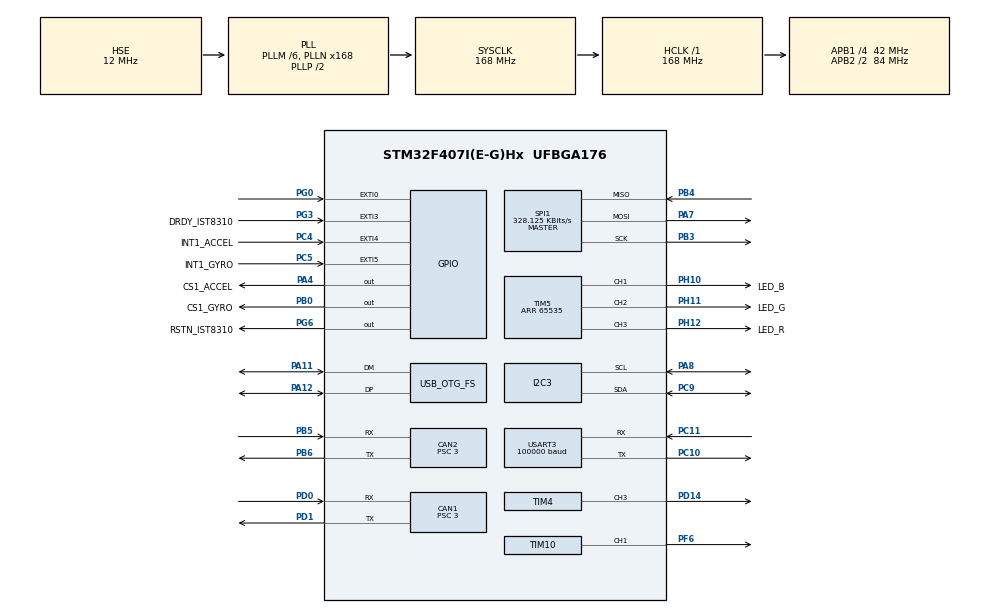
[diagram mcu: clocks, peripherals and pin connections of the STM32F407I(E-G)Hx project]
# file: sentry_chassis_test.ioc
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CAN1.BS1=CAN_BS1_10TQ
CAN1.BS2=CAN_BS2_3TQ
CAN1.CalculateBaudRate=1000000
CAN1.CalculateTimeBit=1000
CAN1.CalculateTimeQuantum=71.42857142857143
CAN1.Prescaler=3
CAN2.BS1=CAN_BS1_10TQ
CAN2.BS2=CAN_BS2_3TQ
CAN2.CalculateBaudRate=1000000
CAN2.CalculateTimeBit=1000
CAN2.CalculateTimeQuantum=71.42857142857143
CAN2.Prescaler=3
Dma.Request0=SPI1_RX
Dma.Request1=SPI1_TX
Dma.Request2=USART3_RX
Dma.SPI1_RX.0.Direction=DMA_PERIPH_TO_MEMORY
Dma.SPI1_RX.0.FIFOMode=DMA_FIFOMODE_DISABLE
Dma.SPI1_RX.0.Instance=DMA2_Stream0
Dma.SPI1_RX.0.MemDataAlignment=DMA_MDATAALIGN_BYTE
Dma.SPI1_RX.0.MemInc=DMA_MINC_ENABLE
Dma.SPI1_RX.0.Mode=DMA_NORMAL
Dma.SPI1_RX.0.PeriphDataAlignment=DMA_PDATAALIGN_BYTE
Dma.SPI1_RX.0.PeriphInc=DMA_PINC_DISABLE
Dma.SPI1_RX.0.Priority=DMA_PRIORITY_VERY_HIGH
Dma.SPI1_TX.1.Direction=DMA_MEMORY_TO_PERIPH
Dma.SPI1_TX.1.FIFOMode=DMA_FIFOMODE_DISABLE
Dma.SPI1_TX.1.Instance=DMA2_Stream3
Dma.SPI1_TX.1.MemDataAlignment=DMA_MDATAALIGN_BYTE
Dma.SPI1_TX.1.MemInc=DMA_MINC_ENABLE
Dma.SPI1_TX.1.Mode=DMA_NORMAL
Dma.SPI1_TX.1.PeriphDataAlignment=DMA_PDATAALIGN_BYTE
Dma.SPI1_TX.1.PeriphInc=DMA_PINC_DISABLE
Dma.SPI1_TX.1.Priority=DMA_PRIORITY_HIGH
Dma.USART3_RX.2.Direction=DMA_PERIPH_TO_MEMORY
Dma.USART3_RX.2.FIFOMode=DMA_FIFOMODE_DISABLE
Dma.USART3_RX.2.Instance=DMA1_Stream1
Dma.USART3_RX.2.MemDataAlignment=DMA_MDATAALIGN_BYTE
Dma.USART3_RX.2.MemInc=DMA_MINC_ENABLE
Dma.USART3_RX.2.Mode=DMA_NORMAL
Dma.USART3_RX.2.PeriphDataAlignment=DMA_PDATAALIGN_BYTE
Dma.USART3_RX.2.PeriphInc=DMA_PINC_DISABLE
Dma.USART3_RX.2.Priority=DMA_PRIORITY_HIGH
FREERTOS.INCLUDE_eTaskGetState=1
FREERTOS.INCLUDE_uxTaskGetStackHighWaterMark=1
FREERTOS.INCLUDE_vTaskDelayUntil=1
FREERTOS.INCLUDE_xQueueGetMutexHolder=1
FREERTOS.Tasks01=test,0,128,test_task,Default,NULL,Dynamic,NULL,NULL
FREERTOS.configTOTAL_HEAP_SIZE=24576
FREERTOS.configUSE_TIMERS=1
I2C3.I2C_Mode=I2C_Fast
Mcu.Family=STM32F4
Mcu.Name=STM32F407I(E-G)Hx
Mcu.Package=UFBGA176
NVIC.CAN1_RX0_IRQn=true\:5\:0\:false\:false\:true\:true\:true\:true\:true
NVIC.CAN1_RX1_IRQn=true\:5\:0\:false\:false\:true\:true\:true\:true\:true
NVIC.CAN1_TX_IRQn=true\:5\:0\:false\:false\:true\:true\:true\:true\:true
NVIC.CAN2_RX0_IRQn=true\:5\:0\:false\:false\:true\:true\:true\:true\:true
NVIC.CAN2_RX1_IRQn=true\:5\:0\:false\:false\:true\:true\:true\:true\:true
NVIC.CAN2_TX_IRQn=true\:5\:0\:false\:false\:true\:true\:true\:true\:true
NVIC.DMA1_Stream1_IRQn=true\:5\:0\:false\:false\:true\:true\:false\:true\:true
NVIC.DMA2_Stream0_IRQn=true\:5\:0\:false\:false\:true\:true\:false\:true\:true
NVIC.DMA2_Stream3_IRQn=true\:5\:0\:false\:false\:true\:true\:false\:true\:true
NVIC.OTG_FS_IRQn=true\:5\:0\:false\:false\:true\:true\:true\:true\:true
NVIC.PriorityGroup=NVIC_PRIORITYGROUP_4
NVIC.RCC_IRQn=true\:5\:0\:false\:false\:true\:true\:true\:false\:true
NVIC.USART3_IRQn=true\:5\:0\:false\:false\:true\:true\:true\:true\:true
PA10.Signal=USB_OTG_FS_ID
PA11.Mode=Device_Only
PA11.Signal=USB_OTG_FS_DM
PA12.Mode=Device_Only
PA12.Signal=USB_OTG_FS_DP
PA13.Mode=Serial_Wire
PA13.Signal=SYS_JTMS-SWDIO
PA14.Mode=Serial_Wire
PA14.Signal=SYS_JTCK-SWCLK
PA4.GPIO_Label=CS1_ACCEL
PA4.GPIO_PuPd=GPIO_PULLUP
PA4.GPIO_Speed=GPIO_SPEED_FREQ_HIGH
PA4.PinState=GPIO_PIN_SET
PA4.Signal=GPIO_Output
PA7.GPIO_PuPd=GPIO_PULLUP
PA7.Mode=Full_Duplex_Master
PA7.Signal=SPI1_MOSI
PA8.GPIO_Pu=GPIO_PULLUP
PA8.Mode=I2C
PA8.Signal=I2C3_SCL
PA9.Signal=USART1_TX
PB0.GPIO_Label=CS1_GYRO
PB0.GPIO_PuPd=GPIO_PULLUP
PB0.GPIO_Speed=GPIO_SPEED_FREQ_HIGH
PB0.Signal=GPIO_Output
PB3.GPIO_PuPd=GPIO_PULLUP
PB3.Mode=Full_Duplex_Master
PB3.Signal=SPI1_SCK
PB4.GPIO_PuPd=GPIO_PULLUP
PB4.Mode=Full_Duplex_Master
PB4.Signal=SPI1_MISO
PB5.GPIO_PuPd=GPIO_NOPULL
PB5.Mode=CAN_Activate
PB5.Signal=CAN2_RX
PB6.GPIO_PuPd=GPIO_NOPULL
PB6.Mode=CAN_Activate
PB6.Signal=CAN2_TX
PC10.Mode=Asynchronous
PC10.Signal=USART3_TX
PC11.Mode=Asynchronous
PC11.Signal=USART3_RX
PC4.GPIO_Label=INT1_ACCEL
PC4.GPIO_PuPd=GPIO_PULLUP
PC4.Signal=GPXTI4
PC5.GPIO_Label=INT1_GYRO
PC5.GPIO_PuPd=GPIO_PULLUP
PC5.Signal=GPXTI5
PC9.GPIO_Pu=GPIO_PULLUP
PC9.Mode=I2C
PC9.Signal=I2C3_SDA
PD0.GPIO_PuPd=GPIO_NOPULL
PD0.Mode=CAN_Activate
PD0.Signal=CAN1_RX
PD1.GPIO_PuPd=GPIO_NOPULL
PD1.Mode=CAN_Activate
PD1.Signal=CAN1_TX
PD14.Signal=S_TIM4_CH3
PF6.GPIO_PuPd=GPIO_PULLUP
PF6.GPIO_Speed=GPIO_SPEED_FREQ_HIGH
PF6.Signal=S_TIM10_CH1
PG0.GPIO_PuPd=GPIO_PULLUP
PG0.Signal=GPXTI0
PG3.GPIO_Label=DRDY_IST8310
PG3.GPIO_PuPd=GPIO_PULLUP
PG3.Signal=GPXTI3
PG6.GPIO_Label=RSTN_IST8310
PG6.GPIO_PuPd=GPIO_PULLUP
PG6.GPIO_Speed=GPIO_SPEED_FREQ_MEDIUM
PG6.PinState=GPIO_PIN_SET
PG6.Signal=GPIO_Output
PH0-OSC_IN.Mode=HSE-External-Oscillator
PH0-OSC_IN.Signal=RCC_OSC_IN
PH1-OSC_OUT.Mode=HSE-External-Oscillator
PH1-OSC_OUT.Signal=RCC_OSC_OUT
PH10.GPIO_Label=LED_B
PH10.GPIO_PuPd=GPIO_PULLUP
PH10.GPIO_Speed=GPIO_SPEED_FREQ_HIGH
PH10.Signal=S_TIM5_CH1
PH11.GPIO_Label=LED_G
PH11.GPIO_PuPd=GPIO_PULLUP
PH11.GPIO_Speed=GPIO_SPEED_FREQ_HIGH
PH11.Signal=S_TIM5_CH2
PH12.GPIO_Label=LED_R
PH12.GPIO_PuPd=GPIO_PULLUP
PH12.GPIO_Speed=GPIO_SPEED_FREQ_HIGH
PH12.Signal=S_TIM5_CH3
ProjectManager.HeapSize=0x2000
ProjectManager.StackSize=0x2000
ProjectManager.TargetToolchain=MDK-ARM V5
RCC.48MHZClocksFreq_Value=48000000
RCC.AHBFreq_Value=168000000
RCC.APB1CLKDivider=RCC_HCLK_DIV4
RCC.APB1Freq_Value=42000000
RCC.APB1TimFreq_Value=84000000
RCC.APB2CLKDivider=RCC_HCLK_DIV2
RCC.APB2Freq_Value=84000000
RCC.APB2TimFreq_Value=168000000
RCC.CortexFreq_Value=168000000
RCC.HCLKFreq_Value=168000000
RCC.HSE_VALUE=12000000
RCC.HSI_VALUE=16000000
RCC.LSE_VALUE=32768
RCC.PLLM=6
RCC.PLLN=168
RCC.PLLQ=7
RCC.SYSCLKFreq_VALUE=168000000
RCC.SYSCLKSource=RCC_SYSCLKSOURCE_PLLCLK
RCC.VCOOutputFreq_Value=336000000
SH.S_TIM10_CH1.0=TIM10_CH1,PWM Generation1 CH1
SH.S_TIM4_CH3.0=TIM4_CH3,PWM Generation3 CH3
SH.S_TIM5_CH1.0=TIM5_CH1,PWM Generation1 CH1
SH.S_TIM5_CH2.0=TIM5_CH2,PWM Generation2 CH2
SH.S_TIM5_CH3.0=TIM5_CH3,PWM Generation3 CH3
SPI1.BaudRatePrescaler=SPI_BAUDRATEPRESCALER_256
SPI1.CLKPhase=SPI_PHASE_2EDGE
SPI1.CLKPolarity=SPI_POLARITY_HIGH
SPI1.CalculateBaudRate=328.125 KBits/s
SPI1.Direction=SPI_DIRECTION_2LINES
SPI1.Mode=SPI_MODE_MASTER
SPI1.VirtualType=VM_MASTER
STMicroelectronics.X-CUBE-ALGOBUILD.1.3.0.LibraryCcDSPOoLibraryJjDSPOoLibrary=true
TIM10.Channel=TIM_CHANNEL_1
TIM10.Period=4999
TIM2.Prescaler=83
TIM4.Channel-PWM\ Generation3\ CH3=TIM_CHANNEL_3
TIM4.Period=20999
TIM5.Channel-PWM\ Generation1\ CH1=TIM_CHANNEL_1
TIM5.Channel-PWM\ Generation2\ CH2=TIM_CHANNEL_2
TIM5.Channel-PWM\ Generation3\ CH3=TIM_CHANNEL_3
TIM5.Period=65535
USART3.BaudRate=100000
USART3.VirtualMode=VM_ASYNC
USB_OTG_FS.VirtualMode=Device_Only
VP_FREERTOS_VS_CMSIS_V1.Mode=CMSIS_V1
VP_STMicroelectronics.X-CUBE-ALGOBUILD_VS_DSPOoLibraryJjLibrary_1.3.0_1.3.0.Mode=DSPOoLibraryJjLibrary
VP_TIM10_VS_ClockSourceINT.Mode=Enable_Timer
VP_TIM2_VS_ClockSourceINT.Mode=Internal
VP_TIM4_VS_ClockSourceINT.Mode=Internal
VP_TIM5_VS_ClockSourceINT.Mode=Internal
board=custom

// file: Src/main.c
/* USER CODE BEGIN Header */
/**
  ******************************************************************************
  * @file           : main.c
  * @brief          : Main program body
  ******************************************************************************
  * @attention
  *
  * Copyright (c) 2024 STMicroelectronics.
  * All rights reserved.
  *
  * This software is licensed under terms that can be found in the LICENSE file
  * in the root directory of this software component.
  * If no LICENSE file comes with this software, it is provided AS-IS.
  *
  ******************************************************************************
  */
/* USER CODE END Header */
#include "main.h"

/* USER CODE BEGIN Includes */
#include "bsp_buzzer.h"
/* USER CODE END Includes */

void SystemClock_Config(void);
void MX_FREERTOS_Init(void);

/* USER CODE BEGIN 0 */
void Robot_Init(void)
{
  // imu init
  while (BMI088_init(&hspi1, Offline_Use) != BMI088_NO_ERROR)
  {
  }
  remote_control_init();
  initRemoteControl(DJI_REMOTE_CONTROL);

  Motor_Config_Init();
}

void Bsp_Init(void)
{
	/* MCU Configuration--------------------------------------------------------*/

  /* Reset of all peripherals, Initializes the Flash interface and the Systick. */
  HAL_Init();

  /* USER CODE BEGIN Init */

  /* USER CODE END Init */

  /* Configure the system clock */
  SystemClock_Config();

  /* USER CODE BEGIN SysInit */

  /* USER CODE END SysInit */

  /* Initialize all configured peripherals */
  MX_GPIO_Init();
  MX_DMA_Init();
	MX_SPI1_Init();
	MX_TIM5_Init();
	MX_I2C3_Init();
  MX_CAN1_Init();
  MX_TIM2_Init();
  MX_TIM10_Init();
  MX_CAN2_Init();
  MX_USART3_UART_Init();
  /* USER CODE BEGIN 2 */
  MX_USB_DEVICE_Init();
	DWT_Init(168);

	can_filter_init();

  MX_TIM4_Init();
	//开启定时器
    HAL_TIM_Base_Start(&htim4);
	//开启PWM通道
   HAL_TIM_PWM_Start(&htim4, TIM_CHANNEL_3);
  /* USER CODE END 2 */
}
/* USER CODE END 0 */

int main(void)
{

  /* USER CODE BEGIN 1 */
	Bsp_Init();
  Robot_Init();
  /* USER CODE END 1 */

  //Initialization_Completed();
  //HAL_TIM_PWM_Start(&htim4, TIM_CHANNEL_3); // 启动PWM输出
  /* Call init function for freertos objects (in cmsis_os2.c) */
  MX_FREERTOS_Init();

  /* Start scheduler */
  osKernelStart();

  /* We should never get here as control is now taken by the scheduler */

  /* Infinite loop */
  while (1)
  {

  }
}

void SystemClock_Config(void)
{
  RCC_OscInitTypeDef RCC_OscInitStruct = {0};
  RCC_ClkInitTypeDef RCC_ClkInitStruct = {0};

  /** Configure the main internal regulator output voltage
  */
  __HAL_RCC_PWR_CLK_ENABLE();
  __HAL_PWR_VOLTAGESCALING_CONFIG(PWR_REGULATOR_VOLTAGE_SCALE1);

  /** Initializes the RCC Oscillators according to the specified parameters
  * in the RCC_OscInitTypeDef structure.
  */
  RCC_OscInitStruct.OscillatorType = RCC_OSCILLATORTYPE_HSE;
  RCC_OscInitStruct.HSEState = RCC_HSE_ON;
  RCC_OscInitStruct.PLL.PLLState = RCC_PLL_ON;
  RCC_OscInitStruct.PLL.PLLSource = RCC_PLLSOURCE_HSE;
  RCC_OscInitStruct.PLL.PLLM = 6;
  RCC_OscInitStruct.PLL.PLLN = 168;
  RCC_OscInitStruct.PLL.PLLP = RCC_PLLP_DIV2;
  RCC_OscInitStruct.PLL.PLLQ = 7;
  if (HAL_RCC_OscConfig(&RCC_OscInitStruct) != HAL_OK)
  {
    Error_Handler();
  }

  /** Initializes the CPU, AHB and APB buses clocks
  */
  RCC_ClkInitStruct.ClockType = RCC_CLOCKTYPE_HCLK|RCC_CLOCKTYPE_SYSCLK
                              |RCC_CLOCKTYPE_PCLK1|RCC_CLOCKTYPE_PCLK2;
  RCC_ClkInitStruct.SYSCLKSource = RCC_SYSCLKSOURCE_PLLCLK;
  RCC_ClkInitStruct.AHBCLKDivider = RCC_SYSCLK_DIV1;
  RCC_ClkInitStruct.APB1CLKDivider = RCC_HCLK_DIV4;
  RCC_ClkInitStruct.APB2CLKDivider = RCC_HCLK_DIV2;

  if (HAL_RCC_ClockConfig(&RCC_ClkInitStruct, FLASH_LATENCY_5) != HAL_OK)
  {
    Error_Handler();
  }
}

void Error_Handler(void)
{
  __disable_irq();
  while (1)
  {
  }
}

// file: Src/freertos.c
/* USER CODE BEGIN Header */
/**
  ******************************************************************************
  * File Name          : freertos.c
  * Description        : Code for freertos applications
  ******************************************************************************
  * @attention
  *
  * Copyright (c) 2024 STMicroelectronics.
  * All rights reserved.
  *
  * This software is licensed under terms that can be found in the LICENSE file
  * in the root directory of this software component.
  * If no LICENSE file comes with this software, it is provided AS-IS.
  *
  ******************************************************************************
  */
/* USER CODE END Header */

#include "FreeRTOS.h"
#include "task.h"
#include "main.h"
#include "cmsis_os.h"

/* USER CODE BEGIN Includes */
#include "led_flow_task.h"
#include "ins_task.h"
#include "ActionTask.h"
#include "BlueToothTask.h"
#include "ChassisTask.h"
#include "CPU_Task.h"
#include "GimbalTask.h"
#include "iwdgTask.h"
#include "Offline_Task.h"
// #include "SDCardTask.h"
#include "Test_Task.h"
#include "ShootTask.h"
#include "BuzzerAlarmTask.h"
/* USER CODE END Includes */

/* USER CODE BEGIN Variables */
osThreadId INSTaskHandle;
osThreadId ActionTaskHandle;
osThreadId OfflineTaskHandle;
osThreadId GimbalTaskHandle;
osThreadId BlueToothTaskHandle;
osThreadId ChassisTaskHandle;
osThreadId CPUTaskHandle;
osThreadId iwdgTaskHandle;
osThreadId TestTaskHandle;
osThreadId BuzzerAlarmTaskHandle;
//osThreadId ShootTaskHandle;
/* USER CODE END Variables */
osThreadId testHandle;

void test_task(void const * argument);

void MX_FREERTOS_Init(void); /* (MISRA C 2004 rule 8.1) */

/* GetIdleTaskMemory prototype (linked to static allocation support) */
void vApplicationGetIdleTaskMemory( StaticTask_t **ppxIdleTaskTCBBuffer, StackType_t **ppxIdleTaskStackBuffer, uint32_t *pulIdleTaskStackSize );

/* GetTimerTaskMemory prototype (linked to static allocation support) */
void vApplicationGetTimerTaskMemory( StaticTask_t **ppxTimerTaskTCBBuffer, StackType_t **ppxTimerTaskStackBuffer, uint32_t *pulTimerTaskStackSize );

/* USER CODE BEGIN GET_IDLE_TASK_MEMORY */
static StaticTask_t xIdleTaskTCBBuffer;
static StackType_t xIdleStack[configMINIMAL_STACK_SIZE];

void vApplicationGetIdleTaskMemory( StaticTask_t **ppxIdleTaskTCBBuffer, StackType_t **ppxIdleTaskStackBuffer, uint32_t *pulIdleTaskStackSize )
{
  *ppxIdleTaskTCBBuffer = &xIdleTaskTCBBuffer;
  *ppxIdleTaskStackBuffer = &xIdleStack[0];
  *pulIdleTaskStackSize = configMINIMAL_STACK_SIZE;
  /* place for user code */
}
/* USER CODE END GET_IDLE_TASK_MEMORY */

/* USER CODE BEGIN GET_TIMER_TASK_MEMORY */
static StaticTask_t xTimerTaskTCBBuffer;
static StackType_t xTimerStack[configTIMER_TASK_STACK_DEPTH];

void vApplicationGetTimerTaskMemory( StaticTask_t **ppxTimerTaskTCBBuffer, StackType_t **ppxTimerTaskStackBuffer, uint32_t *pulTimerTaskStackSize )
{
  *ppxTimerTaskTCBBuffer = &xTimerTaskTCBBuffer;
  *ppxTimerTaskStackBuffer = &xTimerStack[0];
  *pulTimerTaskStackSize = configTIMER_TASK_STACK_DEPTH;
  /* place for user code */
}
/* USER CODE END GET_TIMER_TASK_MEMORY */

void MX_FREERTOS_Init(void) {

  /* Create the thread(s) */
  /* definition and creation of test */
//  osThreadDef(test, test_task, osPriorityNormal, 0, 128);
//  testHandle = osThreadCreate(osThread(test), NULL);

  /* USER CODE BEGIN RTOS_THREADS */
  /* add threads, ... */
	// INS Task
  osThreadDef(INSTask_, INS_task, osPriorityRealtime, 0, 512);
  INSTaskHandle = osThreadCreate(osThread(INSTask_), NULL);

  // Action Task
  osThreadDef(ActionTask_, ActionTask, osPriorityRealtime, 0, 256);
  ActionTaskHandle = osThreadCreate(osThread(ActionTask_), NULL);

  // Gimbal Task
  osThreadDef(GimbalTask_, GimbalTask, osPriorityRealtime, 0, 512);
  GimbalTaskHandle = osThreadCreate(osThread(GimbalTask_), NULL);

  // Offline Task
  osThreadDef(Offline_task_, Offline_task, osPriorityRealtime, 0, 128);
  OfflineTaskHandle = osThreadCreate(osThread(Offline_task_), NULL);

  // Chassis Task
  osThreadDef(ChassisTask_, ChassisTask, osPriorityRealtime, 0, 512);
  ChassisTaskHandle = osThreadCreate(osThread(ChassisTask_), NULL);

  // Buzzer Alarm Task (电机掉线蜂鸣器告警, 2026-07-19新增)
  osThreadDef(BuzzerAlarmTask_, BuzzerAlarmTask, osPriorityNormal, 0, 256);
  BuzzerAlarmTaskHandle = osThreadCreate(osThread(BuzzerAlarmTask_), NULL);

#if IWDG_TASK_ON
  // Independent watchdog supervisor. It feeds only after all critical tasks report.
  osThreadDef(IwdgTask_, Iwdg_task, osPriorityHigh, 0, 128);
  iwdgTaskHandle = osThreadCreate(osThread(IwdgTask_), NULL);
#endif
  // Shoot Task
//  osThreadDef(ShootTask_, ShootTask, osPriorityRealtime, 0, 256);
//  ShootTaskHandle = osThreadCreate(osThread(ShootTask_), NULL);
  /* USER CODE END RTOS_THREADS */

}

void test_task(void const * argument)
{
  for(;;)
  {
    osDelay(1);
  }
}
